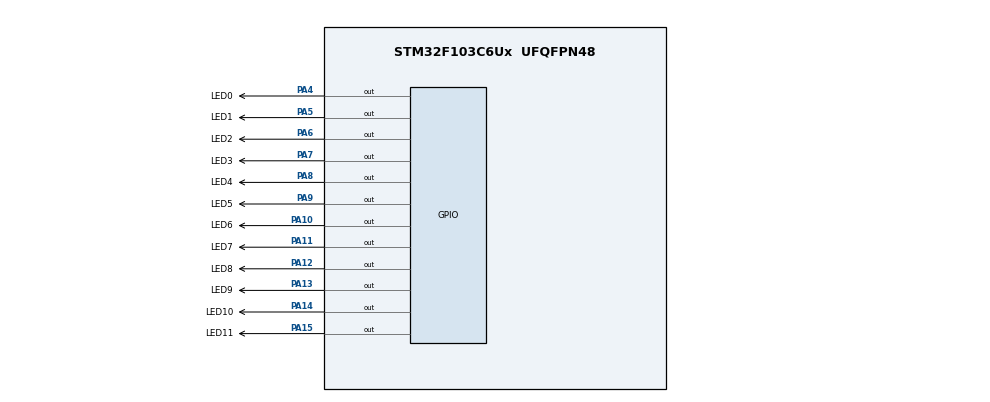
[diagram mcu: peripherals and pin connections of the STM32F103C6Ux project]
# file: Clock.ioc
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Mcu.Family=STM32F1
Mcu.Name=STM32F103C6Ux
Mcu.Package=UFQFPN48
NVIC.PriorityGroup=NVIC_PRIORITYGROUP_4
PA10.GPIO_Label=LED6
PA10.Signal=GPIO_Output
PA11.GPIO_Label=LED7
PA11.Signal=GPIO_Output
PA12.GPIO_Label=LED8
PA12.Signal=GPIO_Output
PA13.GPIO_Label=LED9
PA13.Signal=GPIO_Output
PA14.GPIO_Label=LED10
PA14.Signal=GPIO_Output
PA15.GPIO_Label=LED11
PA15.Signal=GPIO_Output
PA4.GPIO_Label=LED0
PA4.Signal=GPIO_Output
PA5.GPIO_Label=LED1
PA5.Signal=GPIO_Output
PA6.GPIO_Label=LED2
PA6.Signal=GPIO_Output
PA7.GPIO_Label=LED3
PA7.Signal=GPIO_Output
PA8.GPIO_Label=LED4
PA8.Signal=GPIO_Output
PA9.GPIO_Label=LED5
PA9.Signal=GPIO_Output
ProjectManager.HeapSize=0x200
ProjectManager.StackSize=0x400
ProjectManager.TargetToolchain=STM32CubeIDE
RCC.APB1Freq_Value=8000000
RCC.APB2Freq_Value=8000000
VP_SYS_VS_ND.Mode=No_Debug
board=custom

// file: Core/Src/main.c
/* USER CODE BEGIN Header */
/**
  ******************************************************************************
  * @file           : main.c
  * @brief          : Main program body
  ******************************************************************************
  * @attention
  *
  * <h2><center>&copy; Copyright (c) 2022 STMicroelectronics.
  * All rights reserved.</center></h2>
  *
  * This software component is licensed by ST under BSD 3-Clause license,
  * the "License"; You may not use this file except in compliance with the
  * License. You may obtain a copy of the License at:
  *                        opensource.org/licenses/BSD-3-Clause
  *
  ******************************************************************************
  */
/* USER CODE END Header */
#include "main.h"

void SystemClock_Config(void);
static void MX_GPIO_Init(void);

/* USER CODE BEGIN 0 */

void clearAllClock(){ //Function to turn of 12 LEDs
	HAL_GPIO_WritePin(GPIOA, LED0_Pin|LED1_Pin|LED2_Pin|LED3_Pin
		                           |LED4_Pin|LED5_Pin|LED6_Pin|LED7_Pin
		                           |LED8_Pin|LED9_Pin|LED10_Pin|LED11_Pin, RESET);
}

void setNumberOnCLock(int num){ //Function to turn on the appropriate LED
	switch(num){
		case 0:
			HAL_GPIO_WritePin(GPIOA, LED0_Pin, SET);
		break;

		case 1:
			HAL_GPIO_WritePin(GPIOA, LED1_Pin, SET);
		break;

		case 2:
			HAL_GPIO_WritePin(GPIOA, LED2_Pin, SET);
		break;

		case 3:
			HAL_GPIO_WritePin(GPIOA, LED3_Pin, SET);
		break;

		case 4:
			HAL_GPIO_WritePin(GPIOA, LED4_Pin, SET);
		break;

		case 5:
			HAL_GPIO_WritePin(GPIOA, LED5_Pin, SET);
		break;

		case 6:
			HAL_GPIO_WritePin(GPIOA, LED6_Pin, SET);
		break;

		case 7:
			HAL_GPIO_WritePin(GPIOA, LED7_Pin, SET);
		break;

		case 8:
			HAL_GPIO_WritePin(GPIOA, LED8_Pin, SET);
		break;

		case 9:
			HAL_GPIO_WritePin(GPIOA, LED9_Pin, SET);
		break;

		case 10:
			HAL_GPIO_WritePin(GPIOA, LED10_Pin, SET);
		break;

		case 11:
			HAL_GPIO_WritePin(GPIOA, LED11_Pin, SET);
		break;
	}
}

void clearNumberOnClock(int num){ //Function to turn off the appropriate LED
	switch(num){
		case 0:
			HAL_GPIO_WritePin(GPIOA, LED0_Pin, RESET);
		break;

		case 1:
			HAL_GPIO_WritePin(GPIOA, LED1_Pin, RESET);
		break;

		case 2:
			HAL_GPIO_WritePin(GPIOA, LED2_Pin, RESET);
		break;

		case 3:
			HAL_GPIO_WritePin(GPIOA, LED3_Pin, RESET);
		break;

		case 4:
			HAL_GPIO_WritePin(GPIOA, LED4_Pin, RESET);
		break;

		case 5:
			HAL_GPIO_WritePin(GPIOA, LED5_Pin, RESET);
		break;

		case 6:
			HAL_GPIO_WritePin(GPIOA, LED6_Pin, RESET);
		break;

		case 7:
			HAL_GPIO_WritePin(GPIOA, LED7_Pin, RESET);
		break;

		case 8:
			HAL_GPIO_WritePin(GPIOA, LED8_Pin, RESET);
		break;

		case 9:
			HAL_GPIO_WritePin(GPIOA, LED9_Pin, RESET);
		break;

		case 10:
			HAL_GPIO_WritePin(GPIOA, LED10_Pin, RESET);
		break;

		case 11:
			HAL_GPIO_WritePin(GPIOA, LED11_Pin, RESET);
		break;
	}
}
/* USER CODE END 0 */

int main(void)
{

  /* MCU Configuration--------------------------------------------------------*/

  /* Reset of all peripherals, Initializes the Flash interface and the Systick. */
  HAL_Init();

  /* Configure the system clock */
  SystemClock_Config();

  /* Initialize all configured peripherals */
  MX_GPIO_Init();

  /* Infinite loop */
  /* USER CODE BEGIN WHILE */
  int hour = 0, minute = 0, second = 0;
  while (1)
  {
	clearAllClock();
	int minute1 = minute, second1 = second;
	minute1 /= 5;
	second1 /= 5;
	if(hour == 0 || minute1 == 0 || second1 == 0)
	{
		HAL_GPIO_WritePin(GPIOA, LED0_Pin, SET);
	}

	if(hour == 1 || minute1 == 1 || second1 == 1)
	{
		HAL_GPIO_WritePin(GPIOA, LED1_Pin, SET);
	}
	if(hour == 2 || minute1 == 2 || second1 == 2)
	{
		HAL_GPIO_WritePin(GPIOA, LED2_Pin, SET);
	}

	if(hour == 3 || minute1 == 3 || second1 == 3)
	{
		HAL_GPIO_WritePin(GPIOA, LED3_Pin, SET);
	}

	if(hour == 4 || minute1 == 4 || second1 == 4)
	{
		HAL_GPIO_WritePin(GPIOA, LED4_Pin, SET);
	}

	if(hour == 5 || minute1 == 5 || second1 == 5)
	{
		HAL_GPIO_WritePin(GPIOA, LED5_Pin, SET);
	}

	if(hour == 6 || minute1 == 6 || second1 == 6)
	{
		HAL_GPIO_WritePin(GPIOA, LED6_Pin, SET);
	}

	if(hour == 7 || minute1 == 7 || second1 == 7)
	{
		HAL_GPIO_WritePin(GPIOA, LED7_Pin, SET);
	}

	if(hour == 8 || minute1 == 8 || second1 == 8)
	{
		HAL_GPIO_WritePin(GPIOA, LED8_Pin, SET);
	}

	if(hour == 9 || minute1 == 9 || second1 == 9)
	{
		HAL_GPIO_WritePin(GPIOA, LED9_Pin, SET);
	}

	if(hour == 10 || minute1 == 10 || second1 == 10)
	{
		HAL_GPIO_WritePin(GPIOA, LED10_Pin, SET);
	}

	if(hour == 11 || minute1 == 11 || second1 == 11)
	{
		HAL_GPIO_WritePin(GPIOA, LED11_Pin, SET);
	}

	if(second >= 60)
	{
		minute += 1;
		second = 0;
	}
	if(minute >= 60)
	{
		hour += 1;
		minute = 0;
	}
	if(hour >= 12)	hour = 0;
	second++;
	HAL_Delay(100);
    /* USER CODE END WHILE */

  }
}

void SystemClock_Config(void)
{
  RCC_OscInitTypeDef RCC_OscInitStruct = {0};
  RCC_ClkInitTypeDef RCC_ClkInitStruct = {0};

  /** Initializes the RCC Oscillators according to the specified parameters
  * in the RCC_OscInitTypeDef structure.
  */
  RCC_OscInitStruct.OscillatorType = RCC_OSCILLATORTYPE_HSI;
  RCC_OscInitStruct.HSIState = RCC_HSI_ON;
  RCC_OscInitStruct.HSICalibrationValue = RCC_HSICALIBRATION_DEFAULT;
  RCC_OscInitStruct.PLL.PLLState = RCC_PLL_NONE;
  if (HAL_RCC_OscConfig(&RCC_OscInitStruct) != HAL_OK)
  {
    Error_Handler();
  }
  /** Initializes the CPU, AHB and APB buses clocks
  */
  RCC_ClkInitStruct.ClockType = RCC_CLOCKTYPE_HCLK|RCC_CLOCKTYPE_SYSCLK
                              |RCC_CLOCKTYPE_PCLK1|RCC_CLOCKTYPE_PCLK2;
  RCC_ClkInitStruct.SYSCLKSource = RCC_SYSCLKSOURCE_HSI;
  RCC_ClkInitStruct.AHBCLKDivider = RCC_SYSCLK_DIV1;
  RCC_ClkInitStruct.APB1CLKDivider = RCC_HCLK_DIV1;
  RCC_ClkInitStruct.APB2CLKDivider = RCC_HCLK_DIV1;

  if (HAL_RCC_ClockConfig(&RCC_ClkInitStruct, FLASH_LATENCY_0) != HAL_OK)
  {
    Error_Handler();
  }
}

static void MX_GPIO_Init(void)
{
  GPIO_InitTypeDef GPIO_InitStruct = {0};

  /* GPIO Ports Clock Enable */
  __HAL_RCC_GPIOA_CLK_ENABLE();

  /*Configure GPIO pin Output Level */
  HAL_GPIO_WritePin(GPIOA, LED0_Pin|LED1_Pin|LED2_Pin|LED3_Pin
                          |LED4_Pin|LED5_Pin|LED6_Pin|LED7_Pin
                          |LED8_Pin|LED9_Pin|LED10_Pin|LED11_Pin, GPIO_PIN_RESET);

  /*Configure GPIO pins : LED0_Pin LED1_Pin LED2_Pin LED3_Pin
                           LED4_Pin LED5_Pin LED6_Pin LED7_Pin
                           LED8_Pin LED9_Pin LED10_Pin LED11_Pin */
  GPIO_InitStruct.Pin = LED0_Pin|LED1_Pin|LED2_Pin|LED3_Pin
                          |LED4_Pin|LED5_Pin|LED6_Pin|LED7_Pin
                          |LED8_Pin|LED9_Pin|LED10_Pin|LED11_Pin;
  GPIO_InitStruct.Mode = GPIO_MODE_OUTPUT_PP;
  GPIO_InitStruct.Pull = GPIO_NOPULL;
  GPIO_InitStruct.Speed = GPIO_SPEED_FREQ_LOW;
  HAL_GPIO_Init(GPIOA, &GPIO_InitStruct);

}

void Error_Handler(void)
{
  __disable_irq();
  while (1)
  {
  }
}

/************************ (C) COPYRIGHT STMicroelectronics *****END OF FILE****/
